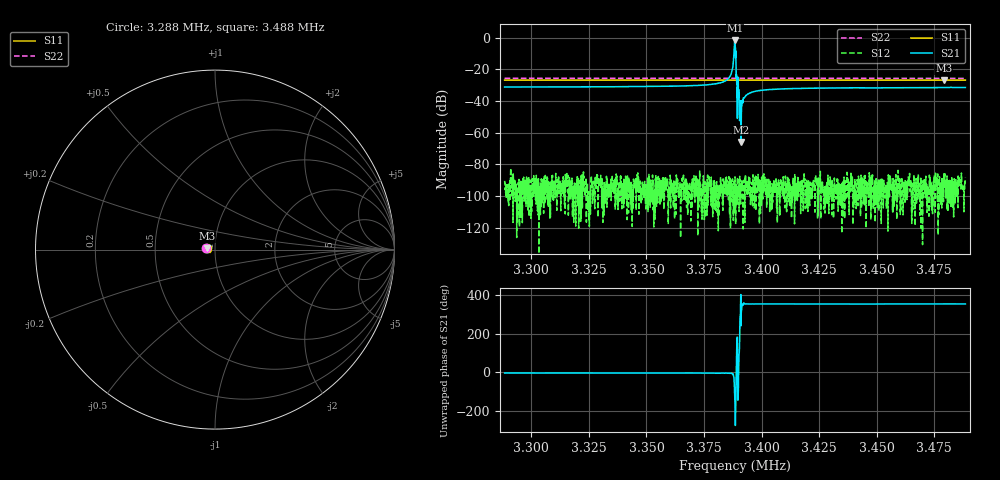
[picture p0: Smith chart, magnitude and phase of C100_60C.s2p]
# Hz S dB R 50.000
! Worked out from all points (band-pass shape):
!   6401 points, 3.288 MHz to 3.488 MHz, reference 50 ohm
!   highest |S21| = -1.65 dB at 3.388 MHz (marker M1); lowest = -65.9 dB at 3.391 MHz (marker M2)
!   |S21| within 3 dB of the highest: 3.388208 MHz to 3.388477 MHz (269.3 Hz wide, 0.00795 % of centre)
!   lowest |S11| = -26.7 dB at 3.479 MHz (marker M3), VSWR 1.10, Z = 45.6 + j0.565 ohm
!   |S11| at or under -10 dB: start of sweep to end of sweep
!   |S22| runs from -25.7 to -25.5 dB; largest |S21 - S12| = 0.83
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3288438  -26.71 170.7  -31.08 -4.3  -90.39 -26.4  -25.55 168.8
3321782  -26.71 171.0  -30.97 -4.4  -94.01 -29.8  -25.56 169.1
3355126  -26.71 171.3  -30.66 -4.6  -89.61 7.6  -25.58 169.4
3374126  -26.72 171.4  -29.91 -4.6  -114.62 48.4  -25.59 169.6
3382782  -26.72 171.5  -28.16 -5.0  -93.76 34.1  -25.59 169.7
3385969  -26.71 171.5  -24.94 -5.1  -91.21 80.2  -25.59 169.7
3386813  -26.72 171.5  -22.60 -5.8  -92.54 163.8  -25.60 169.7
3387219  -26.71 171.6  -20.06 -6.7  -92.92 23.4  -25.60 169.8
3387438  -26.72 171.5  -18.82 -11.1  -92.05 100.0  -25.59 169.8
3387813  -26.72 171.5  -13.55 -19.1  -94.00 -42.6  -25.60 169.7
3388438  -26.72 171.6  -1.65 -167.0  -87.86 -23.1  -25.58 169.5
3389063  -26.71 171.5  -23.07 70.7  -92.82 62.7  -25.59 169.7
3389626  -26.72 171.5  -31.78 -132.7  -100.38 163.0  -25.60 169.7
3390157  -26.72 171.6  -35.54 90.3  -93.07 91.9  -25.59 169.7
3390438  -26.72 171.5  -52.35 166.9  -90.72 57.6  -25.60 169.7
3391094  -26.71 171.6  -65.86 -118.8  -92.73 7.0  -25.59 169.7
3393000  -26.72 171.5  -36.83 -5.8  -87.53 -42.0  -25.60 169.8
3396750  -26.71 171.6  -33.95 -5.4  -93.93 -41.0  -25.60 169.8
3421782  -26.72 171.8  -31.85 -4.8  -101.42 -1.2  -25.61 170.0
3455126  -26.72 172.0  -31.55 -5.0  -100.98 82.1  -25.63 170.4
3479063  -26.73 172.3  -31.43 -4.8  -85.96 -22.9  -25.64 170.6
3488438  -26.72 172.4  -31.33 -4.9  -88.42 14.9  -25.64 170.7
